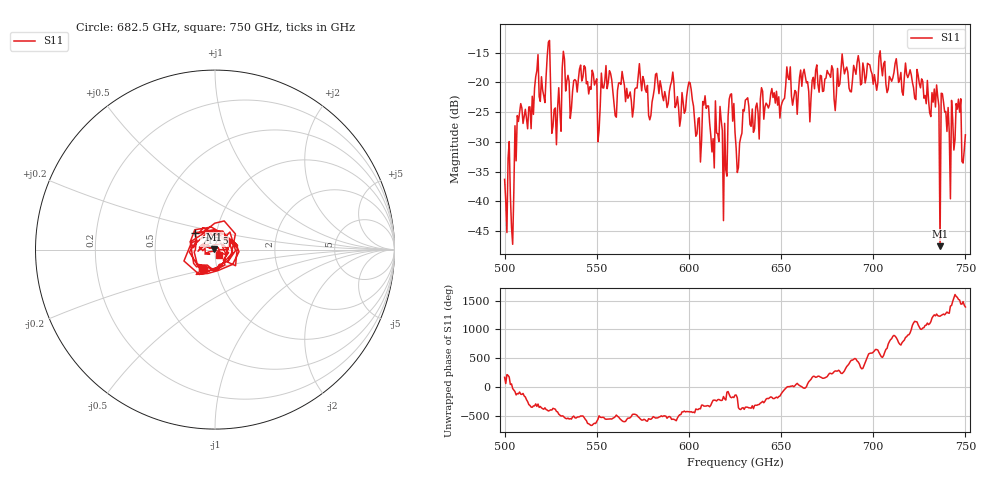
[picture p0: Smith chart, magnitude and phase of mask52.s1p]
!Created with skrf (http://scikit-rf.org).
# GHz S MA R 50.0
!freq magS11 angS11
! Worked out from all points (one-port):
!   401 points, 500 GHz to 750 GHz, reference 50 ohm
!   lowest |S11| = -47.6 dB at 736.2 GHz (marker M1), VSWR 1.01, Z = 49.6 + j0.221 ohm
!   |S11| at or under -10 dB: start of sweep to end of sweep
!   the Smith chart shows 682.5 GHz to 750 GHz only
!   S11 on the Smith chart (normalised r, x): 682.5 GHz: 0.85, -0.19; 717.5 GHz: 0.79, +0.15; 750 GHz: 1.04, -0.06
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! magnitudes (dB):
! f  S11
! 500 GHz  -36.3
! 504.4 GHz  -47.2
! 508.1 GHz  -25.0
! 517.5 GHz  -18.0
! 523.8 GHz  -13.3
! 526.9 GHz  -24.6
! 531.2 GHz  -17.6
! 548.8 GHz  -20.5
! 551.9 GHz  -24.1
! 562.5 GHz  -20.1
! 593.8 GHz  -22.4
! 600.6 GHz  -20.1
! 605.6 GHz  -26.0
! 609.4 GHz  -24.4
! 619.4 GHz  -26.9
! 622.5 GHz  -22.1
! 625 GHz  -28.4
! 656.2 GHz  -23.8
! 682.5 GHz  -17.9
! 687.5 GHz  -21.5
! 717.5 GHz  -16.8
! 718.8 GHz  -19.2
! 734.4 GHz  -20.4
! 736.2 GHz  -47.6
! 738.1 GHz  -23.3
! 743.1 GHz  -26.4
! 746.2 GHz  -22.8
! 750 GHz  -28.8
